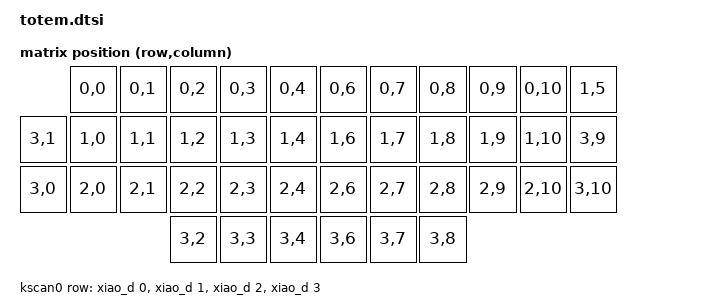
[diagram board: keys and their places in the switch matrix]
/*
 * Copyright (c) 2022 The ZMK Contributors
 *
 * SPDX-License-Identifier: MIT
 */

 #include <dt-bindings/zmk/matrix_transform.h>

 / {
     chosen {
         zmk,kscan = &kscan0;
         zmk,matrix_transform = &default_transform;
     };

     default_transform: keymap_transform_0 {
         compatible = "zmk,matrix-transform";
         columns = <11>;
         rows = <4>;
 // NOTE THAT THE PHYSICAL POSITION OF THE `LSW(L/R)` toggle switch IS TO THE INSIDE OF SW05, IT IS REPRESENTED IN THE OUTER COLUMN
 // LSWL is kil :(
 //      | LSWL | SW01  | SW02  | SW03  | SW04  | SW05  |  | SW05  | SW04  | SW03  | SW02  | SW01  | LSWR |
 //      | SW17 | SW06  | SW07  | SW08  | SW09  | SW10  |  | SW10  | SW09  | SW08  | SW07  | SW06  | SW17 |
 //      | SW16 | SW11  | SW12  | SW13  | SW14  | SW15  |  | SW15  | SW14  | SW13  | SW12  | SW11  | SW16 |
 //                             | SW18  | SW19  | SW20  |  | SW20  | SW19  | SW18  |
         map = <
// column: on left: column#, on right: 10-column#
                 RC(0,0) RC(0,1) RC(0,2) RC(0,3) RC(0,4)    RC(0,6) RC(0,7) RC(0,8) RC(0,9) RC(0,10) RC(1,5)
         RC(3,1) RC(1,0) RC(1,1) RC(1,2) RC(1,3) RC(1,4)    RC(1,6) RC(1,7) RC(1,8) RC(1,9) RC(1,10) RC(3,9)
         RC(3,0) RC(2,0) RC(2,1) RC(2,2) RC(2,3) RC(2,4)    RC(2,6) RC(2,7) RC(2,8) RC(2,9) RC(2,10) RC(3,10)
                                 RC(3,2) RC(3,3) RC(3,4)    RC(3,6) RC(3,7) RC(3,8)
         >;
     };


     kscan0: kscan_0 {
         compatible = "zmk,kscan-gpio-matrix";
         label = "KSCAN";

         diode-direction = "col2row";
         row-gpios
             = <&xiao_d 0 (GPIO_ACTIVE_HIGH | GPIO_PULL_DOWN)>
             , <&xiao_d 1 (GPIO_ACTIVE_HIGH | GPIO_PULL_DOWN)>
             , <&xiao_d 2 (GPIO_ACTIVE_HIGH | GPIO_PULL_DOWN)>
             , <&xiao_d 3 (GPIO_ACTIVE_HIGH | GPIO_PULL_DOWN)>
             ;
     };
 };
